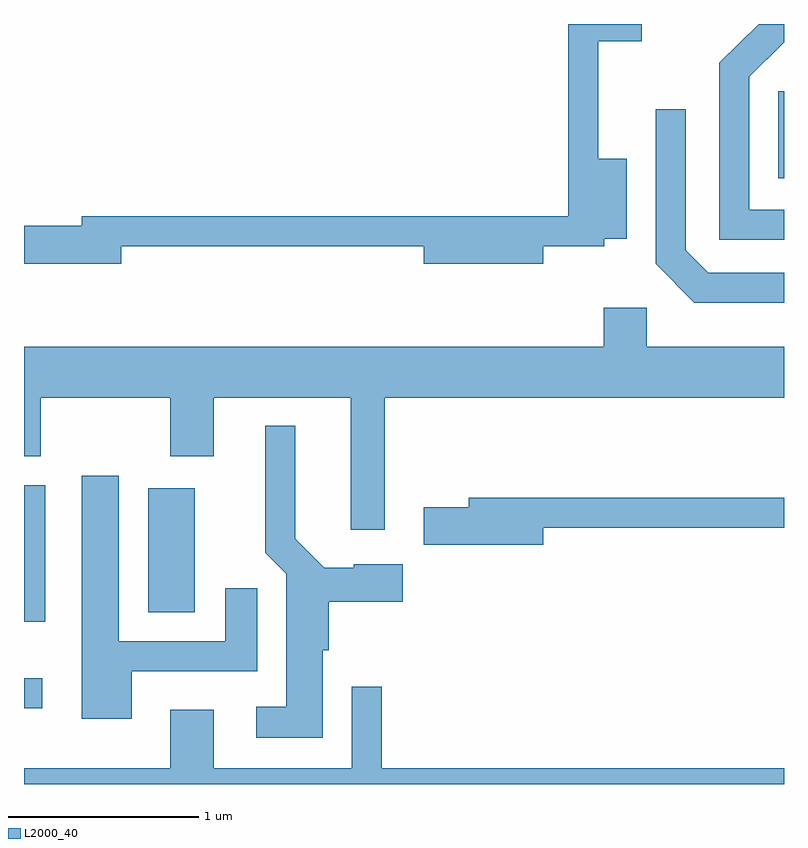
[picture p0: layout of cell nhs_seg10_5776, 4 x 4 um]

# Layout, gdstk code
import gdstk
lib = gdstk.Library(unit=1e-6, precision=1e-09)
def R(c, l, rs):  # rectangles x0, y0, x1, y1
    for r in rs: c.add(gdstk.rectangle(r[:2], r[2:], *l))
def P(c, l, *ps):  # polygons
    for p in ps: c.add(gdstk.Polygon(p, *l))
L2000_40 = (2000, 40)

nhs_seg10_5776 = lib.new_cell('nhs_seg10_5776')
R(nhs_seg10_5776, L2000_40, [(355.611,2138.921,355.708,2139.079), (355.611,2139.376,355.724,2140.094), (356.266,2139.426,356.509,2140.079), (359.581,2141.711,359.611,2142.169)])
P(nhs_seg10_5776, L2000_40, [(359.611,2141.544),(359.429,2141.544),(359.429,2142.244),(359.611,2142.425),(359.611,2142.522),(359.477,2142.522),(359.271,2142.317),(359.271,2141.386),(359.611,2141.386)],
  [(356.124,2141.351),(357.716,2141.351),(357.716,2141.261),(358.344,2141.261),(358.344,2141.351),(358.664,2141.351),(358.664,2141.391),(358.784,2141.391),(358.784,2141.814),(358.634,2141.814),(358.634,2142.431),(358.863,2142.431),(358.863,2142.522),(358.476,2142.522),(358.476,2141.509),(355.916,2141.509),(355.916,2141.459),(355.611,2141.459),(355.611,2141.261),(356.124,2141.261)],
  [(359.611,2141.214),(359.212,2141.214),(359.094,2141.332),(359.094,2142.073),(358.936,2142.073),(358.936,2141.259),(359.139,2141.056),(359.611,2141.056)],
  [(357.509,2140.556),(359.611,2140.556),(359.611,2140.824),(358.889,2140.824),(358.889,2141.029),(358.661,2141.029),(358.661,2140.824),(355.611,2140.824),(355.611,2140.246),(355.699,2140.246),(355.699,2140.556),(356.381,2140.556),(356.381,2140.246),(356.609,2140.246),(356.609,2140.556),(357.331,2140.556),(357.331,2139.861),(357.509,2139.861)],
  [(357.184,2139.226),(357.214,2139.226),(357.214,2139.481),(357.604,2139.481),(357.604,2139.679),(357.346,2139.679),(357.346,2139.659),(357.192,2139.659),(357.039,2139.812),(357.039,2140.408),(356.881,2140.408),(356.881,2139.739),(356.991,2139.629),(356.991,2138.929),(356.833,2138.929),(356.833,2138.766),(357.184,2138.766)],
  [(356.179,2139.116),(356.839,2139.116),(356.839,2139.553),(356.671,2139.553),(356.671,2139.274),(356.109,2139.274),(356.109,2140.144),(355.916,2140.144),(355.916,2138.866),(356.179,2138.866)],
  [(358.344,2139.871),(359.611,2139.871),(359.611,2140.029),(357.951,2140.029),(357.951,2139.979),(357.716,2139.979),(357.716,2139.781),(358.344,2139.781)],
  [(359.611,2138.604),(357.494,2138.604),(357.494,2139.033),(357.336,2139.033),(357.336,2138.604),(356.609,2138.604),(356.609,2138.914),(356.381,2138.914),(356.381,2138.604),(355.611,2138.604),(355.611,2138.522),(359.611,2138.522)])

lib.write_gds('nhs_seg10_5776.gds')
